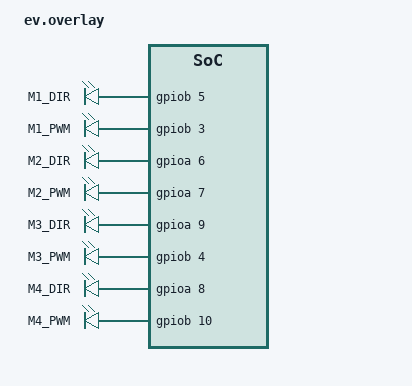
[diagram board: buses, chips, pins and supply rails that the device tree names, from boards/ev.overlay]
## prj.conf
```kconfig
# Enable GPIO driver (needed for LEDs/buttons)
CONFIG_GPIO=y

# (Optional) enable console + printk/printf over UART
CONFIG_SERIAL=y
CONFIG_CONSOLE=y
CONFIG_UART_CONSOLE=y
CONFIG_PRINTK=y
CONFIG_STDOUT_CONSOLE=y
```

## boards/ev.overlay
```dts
/ {
    motor_pins: motor_pins {
        compatible = "gpio-leds";

        m1_dir: m1_dir { gpios = <&gpiob 5 GPIO_ACTIVE_HIGH>; label = "M1_DIR"; };
        m1_pwm: m1_pwm { gpios = <&gpiob 3 GPIO_ACTIVE_HIGH>; label = "M1_PWM"; };

        m2_dir: m2_dir { gpios = <&gpioa 6 GPIO_ACTIVE_HIGH>; label = "M2_DIR"; };
        m2_pwm: m2_pwm { gpios = <&gpioa 7 GPIO_ACTIVE_HIGH>; label = "M2_PWM"; };

        m3_dir: m3_dir { gpios = <&gpioa 9 GPIO_ACTIVE_HIGH>; label = "M3_DIR"; };
        m3_pwm: m3_pwm { gpios = <&gpiob 4 GPIO_ACTIVE_HIGH>; label = "M3_PWM"; };

        m4_dir: m4_dir { gpios = <&gpioa 8 GPIO_ACTIVE_HIGH>; label = "M4_DIR"; };
        m4_pwm: m4_pwm { gpios = <&gpiob 10 GPIO_ACTIVE_HIGH>; label = "M4_PWM"; };
    };
};
```

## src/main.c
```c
#include <zephyr/kernel.h>
#include <zephyr/device.h>
#include <zephyr/drivers/gpio.h>
#include <zephyr/logging/log.h>

LOG_MODULE_REGISTER(ev_motors, LOG_LEVEL_INF);

#define SPEC(lbl) GPIO_DT_SPEC_GET(DT_NODELABEL(lbl), gpios)

/* Arduino → Nucleo mapping and shield usage (confirmed from sketch)
 *
 *   E1 = D3   -> PB3   (PWM)
 *   E2 = D11  -> PA7   (PWM)
 *   E3 = D5   -> PB4   (PWM)
 *   E4 = D6   -> PB10  (PWM)
 *   M1 = D4   -> PB5   (DIR)
 *   M2 = D12  -> PA6   (DIR)
 *   M3 = D8   -> PA9   (DIR)
 *   M4 = D7   -> PA8   (DIR)
 *
 * Devicetree overlay provides node labels:
 *   m1_pwm, m1_dir, m2_pwm, m2_dir, m3_pwm, m3_dir, m4_pwm, m4_dir
 */

static const struct gpio_dt_spec m1_pwm = SPEC(m1_pwm);
static const struct gpio_dt_spec m1_dir = SPEC(m1_dir);

static const struct gpio_dt_spec m2_pwm = SPEC(m2_pwm);
static const struct gpio_dt_spec m2_dir = SPEC(m2_dir);

static const struct gpio_dt_spec m3_pwm = SPEC(m3_pwm);
static const struct gpio_dt_spec m3_dir = SPEC(m3_dir);

static const struct gpio_dt_spec m4_pwm = SPEC(m4_pwm);
static const struct gpio_dt_spec m4_dir = SPEC(m4_dir);

static void motor_pins_init(const struct gpio_dt_spec *pwm,
                            const struct gpio_dt_spec *dir)
{
    int ret;

    ret = gpio_pin_configure_dt(pwm, GPIO_OUTPUT_INACTIVE);
    if (ret) {
        LOG_ERR("Failed to config PWM pin %s:%d (%d)",
                pwm->port->name, pwm->pin, ret);
    }

    ret = gpio_pin_configure_dt(dir, GPIO_OUTPUT_INACTIVE);
    if (ret) {
        LOG_ERR("Failed to config DIR pin %s:%d (%d)",
                dir->port->name, dir->pin, ret);
    }
}

static void motor_set(const char *name,
                      const struct gpio_dt_spec *pwm,
                      const struct gpio_dt_spec *dir,
                      bool dir_level, bool enable)
{
    gpio_pin_set_dt(dir, dir_level);
    gpio_pin_set_dt(pwm, enable ? 1 : 0);

    LOG_DBG("%s: DIR=%d, PWM=%d", name, dir_level, enable ? 1 : 0);
}

int main(void)
{
    LOG_INF("Motor demo start: 4 motors, 1s forward / 1s reverse");

    /* Configure all PWM + DIR pins as outputs */
    motor_pins_init(&m1_pwm, &m1_dir);
    motor_pins_init(&m2_pwm, &m2_dir);
    motor_pins_init(&m3_pwm, &m3_dir);
    motor_pins_init(&m4_pwm, &m4_dir);

    LOG_INF("GPIO init done");

    while (1) {
        /* ---------- FORWARD (same as *_advance() on Arduino) ---------- */
        LOG_INF("MOTORS: FORWARD");
        // M1_advance: M1 = LOW
        motor_set("M1", &m1_pwm, &m1_dir, 0, true);
        k_sleep(K_SECONDS(2));

        LOG_INF("MOTORS: STOPPED");
        motor_set("M1", &m1_pwm, &m1_dir, 0, false);
        
        k_sleep(K_SECONDS(10));

        /* ---------- REVERSE (same as *_back() on Arduino) ---------- */
        LOG_INF("MOTORS: REVERSE");
        // M1_back: M1 = HIGH
        motor_set("M1", &m1_pwm, &m1_dir, 1, true);

        k_sleep(K_SECONDS(1));
        motor_set("M1", &m1_pwm, &m1_dir, 0, false);
        
        k_sleep(K_SECONDS(5));
    }
}
```
